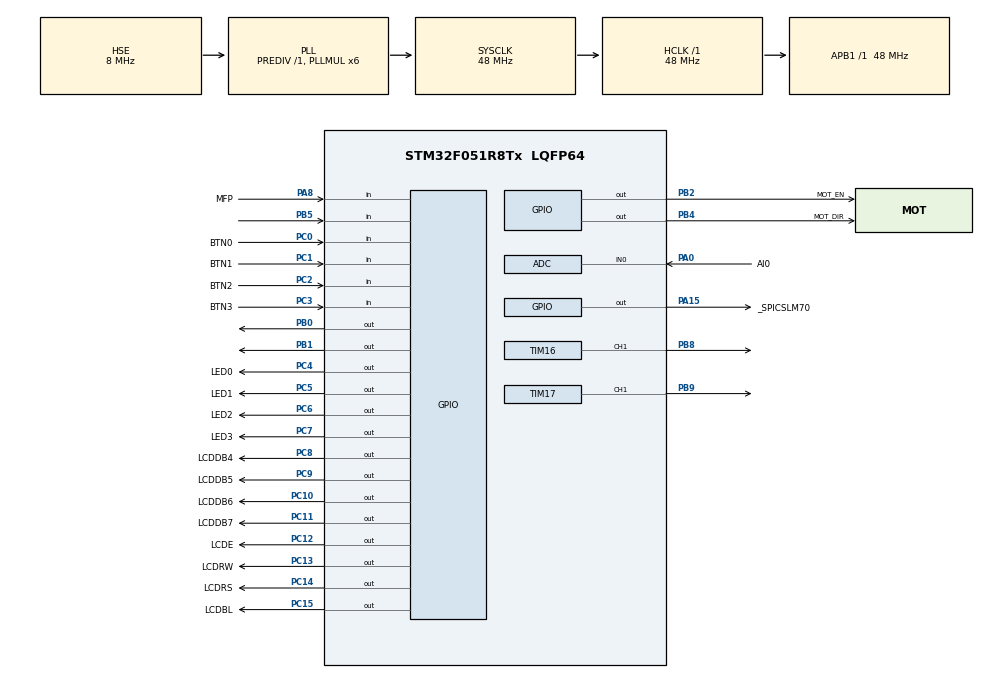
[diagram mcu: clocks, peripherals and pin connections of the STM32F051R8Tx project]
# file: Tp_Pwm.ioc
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Mcu.Family=STM32F0
Mcu.Name=STM32F051R8Tx
Mcu.Package=LQFP64
NVIC.TIM6_DAC_IRQn=true\:0\:0\:false\:false\:true\:true\:true
PA0.GPIO_Label=AI0
PA0.Mode=IN0
PA0.Signal=ADC_IN0
PA10.GPIO_Label=USART1RX
PA10.Signal=USART1_RX
PA11.GPIO_Label=USART1CTS
PA11.Signal=USART1_CTS
PA12.GPIO_Label=USART1RTS
PA12.Signal=USART1_RTS
PA13.Mode=Serial_Wire
PA13.Signal=SYS_SWDIO
PA14.Mode=Serial_Wire
PA14.Signal=SYS_SWCLK
PA15.GPIO_Label=_SPICSLM70
PA15.PinState=GPIO_PIN_SET
PA15.Signal=GPIO_Output
PA5.GPIO_Label=SPISCK
PA5.Signal=SPI1_SCK
PA6.GPIO_Label=SPIMISO
PA6.Signal=SPI1_MISO
PA7.GPIO_Label=SPIMOSI
PA7.Signal=SPI1_MOSI
PA8.GPIO_Label=MFP
PA8.Signal=GPIO_Input
PA9.GPIO_Label=USART1TX
PA9.Signal=USART1_TX
PB0.Signal=GPIO_Output
PB1.Signal=GPIO_Output
PB2.GPIO_Label=MOT_EN
PB2.Signal=GPIO_Output
PB4.GPIO_Label=MOT_DIR
PB4.Signal=GPIO_Output
PB5.Signal=GPIO_Input
PB8.Signal=S_TIM16_CH1
PB9.Signal=S_TIM17_CH1
PC0.GPIO_Label=BTN0
PC0.Signal=GPIO_Input
PC1.GPIO_Label=BTN1
PC1.Signal=GPIO_Input
PC10.GPIO_Label=LCDDB6
PC10.Signal=GPIO_Output
PC11.GPIO_Label=LCDDB7
PC11.Signal=GPIO_Output
PC12.GPIO_Label=LCDE
PC12.Signal=GPIO_Output
PC13.GPIO_Label=LCDRW
PC13.Signal=GPIO_Output
PC14-OSC32_IN.GPIO_Label=LCDRS
PC14-OSC32_IN.Signal=GPIO_Output
PC15-OSC32_OUT.GPIO_Label=LCDBL
PC15-OSC32_OUT.Signal=GPIO_Output
PC2.GPIO_Label=BTN2
PC2.Signal=GPIO_Input
PC3.GPIO_Label=BTN3
PC3.Signal=GPIO_Input
PC4.GPIO_Label=LED0
PC4.PinState=GPIO_PIN_SET
PC4.Signal=GPIO_Output
PC5.GPIO_Label=LED1
PC5.PinState=GPIO_PIN_SET
PC5.Signal=GPIO_Output
PC6.GPIO_Label=LED2
PC6.PinState=GPIO_PIN_SET
PC6.Signal=GPIO_Output
PC7.GPIO_Label=LED3
PC7.PinState=GPIO_PIN_SET
PC7.Signal=GPIO_Output
PC8.GPIO_Label=LCDDB4
PC8.Signal=GPIO_Output
PC9.GPIO_Label=LCDDB5
PC9.Signal=GPIO_Output
PF0-OSC_IN.GPIO_Label=OSCIN
PF0-OSC_IN.Mode=HSE-External-Oscillator
PF0-OSC_IN.Signal=RCC_OSC_IN
PF1-OSC_OUT.GPIO_Label=OSCOUT
PF1-OSC_OUT.Mode=HSE-External-Oscillator
PF1-OSC_OUT.Signal=RCC_OSC_OUT
PF6.Signal=I2C2_SCL
PF7.Signal=I2C2_SDA
ProjectManager.HeapSize=0x200
ProjectManager.StackSize=0x400
ProjectManager.TargetToolchain=MDK-ARM V5
RCC.AHBFreq_Value=48000000
RCC.APB1Freq_Value=48000000
RCC.APB1TimFreq_Value=48000000
RCC.EnbaleCSS=true
RCC.HCLKFreq_Value=48000000
RCC.PLLMUL=RCC_PLL_MUL6
RCC.PLLSourceVirtual=RCC_PLLSOURCE_HSE
RCC.SYSCLKFreq_VALUE=48000000
RCC.SYSCLKSource=RCC_SYSCLKSOURCE_PLLCLK
SH.S_TIM16_CH1.0=TIM16_CH1,PWM Generation1 CH1
SH.S_TIM17_CH1.0=TIM17_CH1,PWM Generation1 CH1
TIM16.AutoReloadPreload=TIM_AUTORELOAD_PRELOAD_ENABLE
TIM16.Channel=TIM_CHANNEL_1
TIM16.Period=99
TIM16.Prescaler=11
TIM16.Pulse=49
TIM17.AutoReloadPreload=TIM_AUTORELOAD_PRELOAD_ENABLE
TIM17.Channel=TIM_CHANNEL_1
TIM17.OC1Preload_PWM=DISABLE
TIM17.Period=57599
TIM17.Prescaler=4
TIM17.Pulse=28799
TIM6.AutoReloadPreload=TIM_AUTORELOAD_PRELOAD_ENABLE
TIM6.Period=9
TIM6.Prescaler=4799
VP_TIM16_VS_ClockSourceINT.Mode=Enable_Timer
VP_TIM17_VS_ClockSourceINT.Mode=Enable_Timer
VP_TIM6_VS_ClockSourceINT.Mode=Enable_Timer
board=test01_blink

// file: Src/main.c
/* USER CODE BEGIN Header */
/**
  ******************************************************************************
  * @file           : main.c
  * @brief          : Main program body
  ******************************************************************************
  * @attention
  *
  * <h2><center>&copy; Copyright (c) 2020 STMicroelectronics.
  * All rights reserved.</center></h2>
  *
  * This software component is licensed by ST under BSD 3-Clause license,
  * the "License"; You may not use this file except in compliance with the
  * License. You may obtain a copy of the License at:
  *                        opensource.org/licenses/BSD-3-Clause
  *
  ******************************************************************************
  */
/* USER CODE END Header */
#include "main.h"
#include "adc.h"
#include "tim.h"
#include "gpio.h"

/* USER CODE BEGIN Includes */

#include <stdbool.h>

#include "17400.h"
#include "stm32delays.h"
#include "stm32driverlcd.h"
#include "time.h"
#include "stm32f0xx_it.h"
#include <stdlib.h>

/* USER CODE END Includes */

/* USER CODE BEGIN PV */
e_States state = INIT;
/* USER CODE END PV */

void SystemClock_Config(void);

/* USER CODE BEGIN 0 */
bool flag1Ms ;//=false;
static bool InitialisationHasOccured = false;
// ----------------------------------------------------------------

// ADC
// Lecture d'un canal AD par polling
// Il faut auparavant avoir configuré la/les pin(s) concernée(s) en entrée analogique
int16_t inline Adc_read(uint8_t chNr)
{
	//démarage périph
	HAL_ADC_Start(&hadc);
	//calibration ADC
	//HAL_ADCEx_Calibration_Start(&hadc);

	if(!HAL_ADC_PollForConversion(&hadc,5))
	{//timeout 5ms
		return HAL_ADC_GetValue(&hadc);
	}
	//a= (&hadc)->Instance->DR;
	HAL_ADC_Stop(&hadc);
	return 0;
}

void LectureDuFlag1ms(void)
//cette fonction vérifie si le flag de 1ms est actif pour calculer les timmings demander
//de plus la lecture des entré est faite lorsque que le flag est actif ce qui permet d'avoir
//une base de temps pour les echantillons du buffer d'entrée au détriment du temps de réaction
{

	static uint16_t cntTime = 0;
	//test du flag
	if(flag1Ms)
	{
		flag1Ms=false;

		cntTime++;
		//
		if (cntTime%_25MSEC == 0)
		{
			state = (InitialisationHasOccured)? EXEC: INIT;
			if(cntTime < _3SEC)
			{
				if(!(cntTime %_250MSEC))
				{
					GPIOC -> ODR ^= LEDS;
				}
			}
			else
			{
				InitialisationHasOccured=true;
				GPIOC -> ODR |= LEDS;
				cntTime = _3SEC;
				state = EXEC;
			}
		}
	}
}

void inline initmotors(servo*servo,dcmot*dcmot)
{
	//constructeur ??
	dcmot->timerX=16;
	dcmot->speed_Percent=0;
	GPIOB->ODR |= MOT_EN;
	servo->timerX=17;

}
void inline setpulseregister(mototrs *motUsed)
{
	TIM16->CCR1= motUsed->motor1.speed_Percent;
	TIM17->CCR1= motUsed->servo1.pwmPercent_Tick;

}

void initialisation(mototrs *motUsed)
//Affichage durant l'initialisation partie LCD
{
	if (InitialisationHasOccured)
	{
	}
	else
	{

		printf_lcd("TP AdLcd <2024>");
		lcd_gotoxy(1,2);
		printf_lcd("ACL EDA  ");
		lcd_bl_on();
		//constructeur ??
		initmotors(&motUsed->servo1,&motUsed->motor1);
		setpulseregister(motUsed);
	}
}

void inline valueAdcToSpeedDir(int16_t* adcVal,dcmot *moteur1)
{
	 moteur1->speed_Percent = abs((((*adcVal*COEFDCMOT)/COEFPRECISION)+OFFSETDCSPEED));
	 moteur1->sens = (*adcVal <=ADCMIDLVAL)? '>':(moteur1->speed_Percent !=0)?'<':'-';

	switch (moteur1->sens)
	{
		case '>':
			GPIOB->ODR &= ~MOT_DIR;
			break;
		case '<':
			GPIOB->ODR |= MOT_DIR;
			break;
		default:
			GPIOB->ODR |= MOT_DIR;
			break;
	}
}

void inline angleToTicks(int *consigneAngle,servo *moteur2)
{
	//calcul pour temps haut
	moteur2->pwmPercent_Tick = (abs(((*consigneAngle)*COEFSERVO)+(_06MSTOTICK)));
	moteur2->angleDegree = *consigneAngle;
	//test pour sens
	moteur2->sens = (*consigneAngle <(ANGLETOT/2))? '-':(*consigneAngle >(ANGLETOT/2))?'+':' ';

}
void inline readInput(char *tb_portEntree)
// cette fonction remplis toute les 5ms une case du tableau avec le port d'entrée
//une fois plein le tableau est annalyser, la taille du tableau est faite pour les limites cdc 500ms
{
		tb_portEntree[2] = tb_portEntree[1];
		tb_portEntree[1] = tb_portEntree[0];
		tb_portEntree[0] = GPIOC-> IDR & 0x0F;
}
void inputsActions(char *tb_portEntree,int *servoConsigne)
{
	static bool modefin = false;
	int consignAngle = *servoConsigne;
	//Test pour pulse temps actif min 200ms
			if ((tb_portEntree[0] != tb_portEntree[1])&& (tb_portEntree[0]!=0))
			{
				switch (((~(tb_portEntree[0]))&0xF))
				{
						case S2 :
							modefin = !modefin;
							break;

						case S3:
							if (consignAngle >=1)
							{
								if (modefin)
								{
									consignAngle-=1;
								}
								else
								{
									consignAngle=(((consignAngle-10)/10)*10);
								}
							}
							break;

						case S4:
							if (consignAngle <180)
							{
								if (modefin)
								{
									consignAngle+=1;
								}
								else
								{
									consignAngle=(((consignAngle+10)/10)*10);
								}
							}
							break;

						case S5:

							consignAngle = 90;

							break;
				}
				if(consignAngle > 180 || consignAngle < 0  )
				{

				}
				else
				{
					*servoConsigne = consignAngle;
				}
			}

}

void execution(mototrs *motUsed)
{
		static int16_t alors =0;
		static int servoConsigne = 0;
		static char tb_portEntree[3]={0};

		valueAdcToSpeedDir(&alors,&motUsed->motor1);
		readInput(tb_portEntree);
		inputsActions(tb_portEntree,&servoConsigne);
		angleToTicks(&servoConsigne,&motUsed->servo1);
		setpulseregister(motUsed);
		lcd_gotoxy(1,1);
		printf_lcd("SPEED: %d / % DIR: %c ",motUsed->motor1.speed_Percent, motUsed->motor1.sens);
		lcd_gotoxy(1,2);
		printf_lcd("ANGLE: %c %d          ",(motUsed->servo1.sens),abs(motUsed->servo1.angleDegree-90));
}
// ----------------------------------------------------------------

/* USER CODE END 0 */

int main(void)
{
  /* USER CODE BEGIN 1 */
	//variables
	static mototrs motUsed;

  /* USER CODE END 1 */

  /* MCU Configuration--------------------------------------------------------*/

  /* Reset of all peripherals, Initializes the Flash interface and the Systick. */
  HAL_Init();

  /* Configure the system clock */
  SystemClock_Config();

  /* Initialize all configured peripherals */
  MX_GPIO_Init();
  MX_TIM6_Init();
  MX_TIM16_Init();
  MX_TIM17_Init();
  MX_ADC_Init();
	lcd_init();
  /* USER CODE BEGIN 2 */
	HAL_TIM_Base_Start_IT(&htim6);
	HAL_TIM_Base_Start_IT(&htim16);
	HAL_TIM_Base_Start_IT(&htim17);
	HAL_TIM_PWM_Start(&htim16, TIM_CHANNEL_1);
	HAL_TIM_PWM_Start(&htim17, TIM_CHANNEL_1);
  /* USER CODE END 2 */

  /* Infinite loop */
  /* USER CODE BEGIN WHILE */
	HAL_ADCEx_Calibration_Start(&hadc);

  while (1)
  {
    /* USER CODE END WHILE */

    /* USER CODE BEGIN 3 */
		LectureDuFlag1ms();
		switch(state)
		{
			case INIT:
				state = IDLE;
				initialisation(&motUsed);
				break;
			case EXEC:
				state = IDLE;
				execution(&motUsed);
				break;
			case IDLE:
				break;
			default:
				break;
		}
  }
  /* USER CODE END 3 */
}

void SystemClock_Config(void)
{
  RCC_OscInitTypeDef RCC_OscInitStruct = {0};
  RCC_ClkInitTypeDef RCC_ClkInitStruct = {0};

  /** Initializes the RCC Oscillators according to the specified parameters
  * in the RCC_OscInitTypeDef structure.
  */
  RCC_OscInitStruct.OscillatorType = RCC_OSCILLATORTYPE_HSI14|RCC_OSCILLATORTYPE_HSE;
  RCC_OscInitStruct.HSEState = RCC_HSE_ON;
  RCC_OscInitStruct.HSI14State = RCC_HSI14_ON;
  RCC_OscInitStruct.HSI14CalibrationValue = 16;
  RCC_OscInitStruct.PLL.PLLState = RCC_PLL_ON;
  RCC_OscInitStruct.PLL.PLLSource = RCC_PLLSOURCE_HSE;
  RCC_OscInitStruct.PLL.PLLMUL = RCC_PLL_MUL6;
  RCC_OscInitStruct.PLL.PREDIV = RCC_PREDIV_DIV1;
  if (HAL_RCC_OscConfig(&RCC_OscInitStruct) != HAL_OK)
  {
    Error_Handler();
  }
  /** Initializes the CPU, AHB and APB buses clocks
  */
  RCC_ClkInitStruct.ClockType = RCC_CLOCKTYPE_HCLK|RCC_CLOCKTYPE_SYSCLK
                              |RCC_CLOCKTYPE_PCLK1;
  RCC_ClkInitStruct.SYSCLKSource = RCC_SYSCLKSOURCE_PLLCLK;
  RCC_ClkInitStruct.AHBCLKDivider = RCC_SYSCLK_DIV1;
  RCC_ClkInitStruct.APB1CLKDivider = RCC_HCLK_DIV1;

  if (HAL_RCC_ClockConfig(&RCC_ClkInitStruct, FLASH_LATENCY_1) != HAL_OK)
  {
    Error_Handler();
  }
  /** Enables the Clock Security System
  */
  HAL_RCC_EnableCSS();
}

void Error_Handler(void)
{
}

/************************ (C) COPYRIGHT STMicroelectronics *****END OF FILE****/
